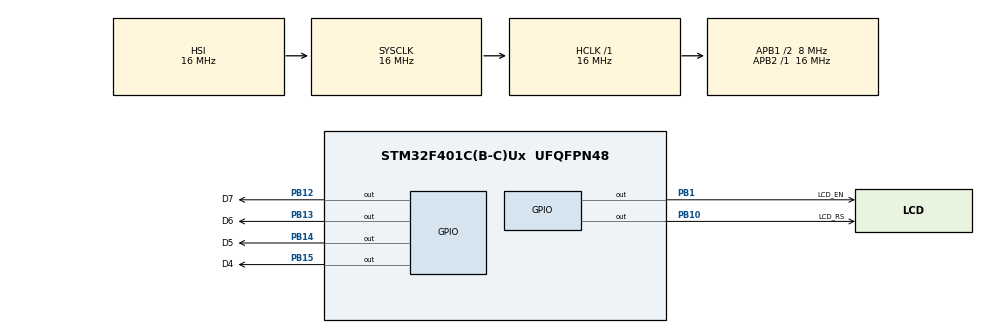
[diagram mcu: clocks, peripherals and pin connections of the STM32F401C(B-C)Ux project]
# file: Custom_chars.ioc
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Mcu.Family=STM32F4
Mcu.Name=STM32F401C(B-C)Ux
Mcu.Package=UFQFPN48
NVIC.PriorityGroup=NVIC_PRIORITYGROUP_4
PA13.Mode=Serial_Wire
PA13.Signal=SYS_JTMS-SWDIO
PA14.Mode=Serial_Wire
PA14.Signal=SYS_JTCK-SWCLK
PB1.GPIO_Label=LCD_EN
PB1.Signal=GPIO_Output
PB10.GPIO_Label=LCD_RS
PB10.Signal=GPIO_Output
PB12.GPIO_Label=D7
PB12.Signal=GPIO_Output
PB13.GPIO_Label=D6
PB13.Signal=GPIO_Output
PB14.GPIO_Label=D5
PB14.Signal=GPIO_Output
PB15.GPIO_Label=D4
PB15.Signal=GPIO_Output
ProjectManager.HeapSize=0x200
ProjectManager.StackSize=0x400
ProjectManager.TargetToolchain=STM32CubeIDE
RCC.48MHZClocksFreq_Value=30720000
RCC.AHBFreq_Value=16000000
RCC.APB1CLKDivider=RCC_HCLK_DIV2
RCC.APB1Freq_Value=8000000
RCC.APB1TimFreq_Value=16000000
RCC.APB2Freq_Value=16000000
RCC.APB2TimFreq_Value=16000000
RCC.CortexFreq_Value=16000000
RCC.HCLKFreq_Value=16000000
RCC.HSE_VALUE=25000000
RCC.HSI_VALUE=16000000
RCC.LSE_VALUE=32768
RCC.PLLM=25
RCC.PLLP=RCC_PLLP_DIV4
RCC.SYSCLKFreq_VALUE=16000000
RCC.VCOOutputFreq_Value=122880000
TIM10.Prescaler=48-1
VP_TIM10_VS_ClockSourceINT.Mode=Enable_Timer
board=custom

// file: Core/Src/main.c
/* USER CODE BEGIN Header */
/**
 ******************************************************************************
 * @file           : main.c
 * @brief          : Main program body
 ******************************************************************************
 * @attention
 *
 * Copyright (c) 2023 STMicroelectronics.
 * All rights reserved.
 *
 * This software is licensed under terms that can be found in the LICENSE file
 * in the root directory of this software component.
 * If no LICENSE file comes with this software, it is provided AS-IS.
 *
 ******************************************************************************
 */
/* USER CODE END Header */
#include "main.h"

/* USER CODE BEGIN Includes */
#include "lcd.h"
/* USER CODE END Includes */

TIM_HandleTypeDef htim10;

/* USER CODE BEGIN PV */
LCD_t lcd;
/* USER CODE END PV */

void SystemClock_Config(void);
static void MX_GPIO_Init(void);
static void MX_TIM10_Init(void);

int main(void) {
	/* USER CODE BEGIN 1 */
	//creamos los caracteres personalizados
	char jumpingMan1[] = { 0x0E, 0x0E, 0x0E, 0x15, 0x0E, 0x04, 0x0A, 0x11 };
	char jumpingMan2[] = { 0x0E, 0x0E, 0x0E, 0x04, 0x0E, 0x15, 0x0A, 0x0A };
	char heart[] = { 0x00, 0x0A, 0x1F, 0x1F, 0x1F, 0x0E, 0x04, 0x00 };
	char moreOrLess[] = { 0x04, 0x04, 0x1F, 0x04, 0x04, 0x00, 0x1F, 0x00 };
	char arrowUp[] = { 0x04, 0x0E, 0x1F, 0x04, 0x04, 0x04, 0x04, 0x04 };
	char arrowDown[] = { 0x04, 0x04, 0x04, 0x04, 0x04, 0x1F, 0x0E, 0x04 };
	char smile[] = { 0x00, 0x0A, 0x00, 0x04, 0x04, 0x11, 0x0E, 0x00 };
	char sad[] = { 0x00, 0x0A, 0x00, 0x04, 0x04, 0x00, 0x0E, 0x11 };
	/* USER CODE END 1 */

	/* MCU Configuration--------------------------------------------------------*/

	/* Reset of all peripherals, Initializes the Flash interface and the Systick. */
	HAL_Init();

	/* Configure the system clock */
	SystemClock_Config();

	/* Initialize all configured peripherals */
	MX_GPIO_Init();
	MX_TIM10_Init();
	/* USER CODE BEGIN 2 */
	// LCD SETTINGS ----------------------------------------------
	lcd.RS_port = LCD_RS_GPIO_Port;
	lcd.RS_pin = LCD_RS_Pin;
	//lcd.RW_port = LCD_RW_GPIO_Port;
	//lcd.RW_pin = LCD_RW_Pin;
	lcd.EN_port = LCD_EN_GPIO_Port;
	lcd.EN_pin = LCD_EN_Pin;
	lcd.D4_port = D4_GPIO_Port;
	lcd.D4_pin = D4_Pin;
	lcd.D5_port = D5_GPIO_Port;
	lcd.D5_pin = D5_Pin;
	lcd.D6_port = D6_GPIO_Port;
	lcd.D6_pin = D6_Pin;
	lcd.D7_port = D7_GPIO_Port;
	lcd.D7_pin = D7_Pin;

	//inicializamos el LCD
	lcd_begin(&lcd, 16, 2, LCD_5x8DOTS);

	//escribimos un mensaje inicial
	lcd_setCursor(&lcd, 0, 0);
	lcd_print(&lcd, "LCD custom chars");
	/*lcd_setCursor(&lcd, 0, 1);
	 lcd_write(&lcd, 0xE0);*/

	lcd_createChar(&lcd, jumpingMan1, 0);
	lcd_createChar(&lcd, jumpingMan2, 1);
	lcd_createChar(&lcd, heart, 2);
	lcd_createChar(&lcd, moreOrLess, 3);
	lcd_createChar(&lcd, arrowUp, 4);
	lcd_createChar(&lcd, arrowDown, 5);
	lcd_createChar(&lcd, smile, 6);
	lcd_createChar(&lcd, sad, 7);
	lcd_setCursor(&lcd, 0, 1);

	for (int i = 0; i < 3; i++) {
		lcd_setCursor(&lcd, i + 5, 1);
		lcd_write(&lcd, 2);
	}

	for (int i = 0; i < 16; i++) {
		lcd_setCursor(&lcd, i - 1, 1);
		lcd_print(&lcd, " ");
		lcd_setCursor(&lcd, i, 1);
		lcd_write(&lcd, 0);
		HAL_Delay(500);
		lcd_setCursor(&lcd, i, 1);
		lcd_write(&lcd, 1);
		HAL_Delay(500);
	}
	/* USER CODE END 2 */

	/* Infinite loop */
	while (1) {

	}
}

void SystemClock_Config(void) {
	RCC_OscInitTypeDef RCC_OscInitStruct = { 0 };
	RCC_ClkInitTypeDef RCC_ClkInitStruct = { 0 };

	/** Configure the main internal regulator output voltage
	 */
	__HAL_RCC_PWR_CLK_ENABLE();
	__HAL_PWR_VOLTAGESCALING_CONFIG(PWR_REGULATOR_VOLTAGE_SCALE2);

	/** Initializes the RCC Oscillators according to the specified parameters
	 * in the RCC_OscInitTypeDef structure.
	 */
	RCC_OscInitStruct.OscillatorType = RCC_OSCILLATORTYPE_HSI;
	RCC_OscInitStruct.HSIState = RCC_HSI_ON;
	RCC_OscInitStruct.HSICalibrationValue = RCC_HSICALIBRATION_DEFAULT;
	RCC_OscInitStruct.PLL.PLLState = RCC_PLL_NONE;
	if (HAL_RCC_OscConfig(&RCC_OscInitStruct) != HAL_OK) {
		Error_Handler();
	}

	/** Initializes the CPU, AHB and APB buses clocks
	 */
	RCC_ClkInitStruct.ClockType = RCC_CLOCKTYPE_HCLK | RCC_CLOCKTYPE_SYSCLK
	    | RCC_CLOCKTYPE_PCLK1 | RCC_CLOCKTYPE_PCLK2;
	RCC_ClkInitStruct.SYSCLKSource = RCC_SYSCLKSOURCE_HSI;
	RCC_ClkInitStruct.AHBCLKDivider = RCC_SYSCLK_DIV1;
	RCC_ClkInitStruct.APB1CLKDivider = RCC_HCLK_DIV2;
	RCC_ClkInitStruct.APB2CLKDivider = RCC_HCLK_DIV1;

	if (HAL_RCC_ClockConfig(&RCC_ClkInitStruct, FLASH_LATENCY_0) != HAL_OK) {
		Error_Handler();
	}
}

static void MX_TIM10_Init(void) {

	htim10.Instance = TIM10;
	htim10.Init.Prescaler = 48 - 1;
	htim10.Init.CounterMode = TIM_COUNTERMODE_UP;
	htim10.Init.Period = 65535;
	htim10.Init.ClockDivision = TIM_CLOCKDIVISION_DIV1;
	htim10.Init.AutoReloadPreload = TIM_AUTORELOAD_PRELOAD_DISABLE;
	if (HAL_TIM_Base_Init(&htim10) != HAL_OK) {
		Error_Handler();
	}

}

static void MX_GPIO_Init(void) {
	GPIO_InitTypeDef GPIO_InitStruct = { 0 };

	/* GPIO Ports Clock Enable */
	__HAL_RCC_GPIOB_CLK_ENABLE();
	__HAL_RCC_GPIOA_CLK_ENABLE();

	/*Configure GPIO pin Output Level */
	HAL_GPIO_WritePin(GPIOB,
	LCD_EN_Pin | LCD_RS_Pin | D7_Pin | D6_Pin | D5_Pin | D4_Pin, GPIO_PIN_RESET);

	/*Configure GPIO pins : LCD_EN_Pin LCD_RS_Pin D7_Pin D6_Pin
	 D5_Pin D4_Pin */
	GPIO_InitStruct.Pin = LCD_EN_Pin | LCD_RS_Pin | D7_Pin | D6_Pin | D5_Pin
	    | D4_Pin;
	GPIO_InitStruct.Mode = GPIO_MODE_OUTPUT_PP;
	GPIO_InitStruct.Pull = GPIO_NOPULL;
	GPIO_InitStruct.Speed = GPIO_SPEED_FREQ_LOW;
	HAL_GPIO_Init(GPIOB, &GPIO_InitStruct);

}

void Error_Handler(void) {
	__disable_irq();
	while (1) {
	}
}
